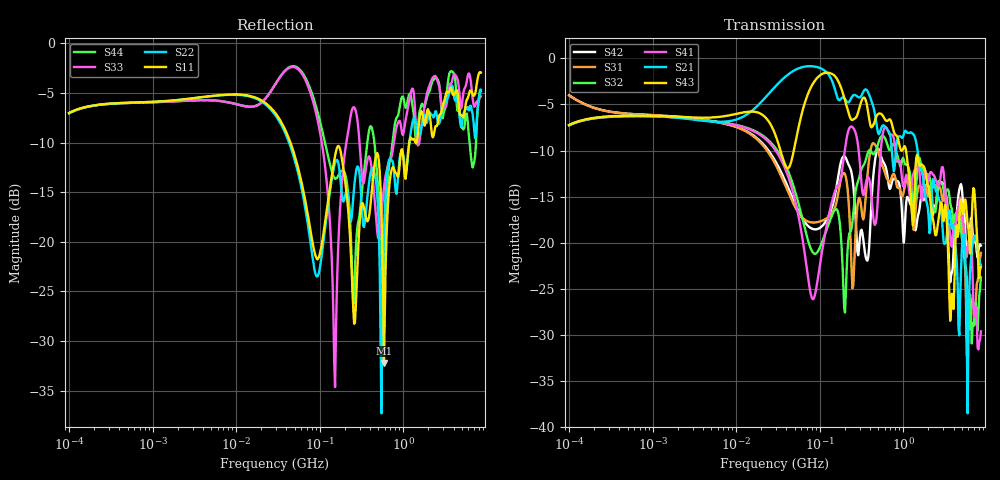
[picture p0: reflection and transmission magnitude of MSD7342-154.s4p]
# MHz S MA R 50
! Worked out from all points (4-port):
!   498 points, 100 kHz to 8.5 GHz, reference 50 ohm
!   strongest paths, dB at 100 kHz, 1.698 MHz, 29.49 MHz, 500.7 MHz, 8.5 GHz:
!     S43: -7.2, -6.3, -8.3, -6.0, -22.7
!     S21: -7.2, -6.4, -3.0, -8.1, -22.4
!     S41: -7.3, -6.4, -10.0, -14.7, -29.6
!     S32: -7.3, -6.4, -9.7, -9.3, -23.8
!     S31: -4.0, -6.3, -11.5, -10.0, -21.1
!     S42: -4.0, -6.3, -11.2, -9.8, -20.3
!   lowest |S11| = -32.2 dB at 587.5 MHz (marker M1), VSWR 1.05, Z = 50.8 - j2.33 ohm
!   |S11| at or under -10 dB: 44.59 MHz to 1.181 GHz (1.137 GHz wide, 185 % of centre); 1.405 GHz to 1.443 GHz (38.43 MHz wide, 2.7 % of centre)
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0.1  0.4451 26.5  0.4348 27.2  0.6295 -18.9  0.4332 -153.4
     0.4348 27.2  0.4448 26.6  0.4336 -153.4  0.6308 -18.9
     0.6295 -18.9  0.4336 -153.4  0.4452 26.6  0.4352 27.1
     0.4332 -153.4  0.6308 -18.9  0.4352 27.1  0.4441 26.5
68.6511  0.1536 -71.8  0.905 -9.4  0.1319 105.8  0.07762 2.8
         0.905 -9.4  0.1399 -71.0  0.1124 5.5  0.1266 122.9
         0.1319 105.8  0.1124 5.5  0.6416 -57.0  0.6016 22.9
         0.07762 2.8  0.1266 122.9  0.6016 22.9  0.6596 -50.9
152.6826  0.2709 -22.5  0.6744 -48.9  0.1557 40.4  0.1909 53.3
          0.6744 -48.9  0.2499 -7.8  0.1514 10.2  0.1816 60.8
          0.1557 40.4  0.1514 10.2  0.01855 -22.6  0.7999 -36.8
          0.1909 53.3  0.1816 60.8  0.7999 -36.8  0.2076 -68.3
587.4518  0.02452 -69.5  0.4328 -112.6  0.2489 -80.7  0.4141 -50.1
          0.4328 -112.6  0.1133 14.3  0.3764 -68.6  0.2704 -76.4
          0.2489 -80.7  0.3764 -68.6  0.1876 27.2  0.4772 -115.2
          0.4141 -50.1  0.2704 -76.4  0.4772 -115.2  0.05645 90.3
6034.534  0.5425 -97.6  0.03301 13.1  0.03781 -81.8  0.09832 -110.0
          0.03301 13.1  0.4609 -109.9  0.03365 -118.2  0.09925 -124.2
          0.03781 -81.8  0.03365 -118.2  0.7043 -114.4  0.1179 -51.9
          0.09832 -110.0  0.09925 -124.2  0.1179 -51.9  0.3619 -150.8
7244.201  0.5559 98.0  0.1093 -175.4  0.03737 148.6  0.04115 88.7
          0.1093 -175.4  0.333 67.2  0.04507 132.1  0.1046 64.8
          0.03737 148.6  0.04507 132.1  0.4822 47.9  0.1676 141.1
          0.04115 88.7  0.1046 64.8  0.1676 141.1  0.2694 45.7
8500  0.7122 -57.9  0.07574 28.6  0.08801 -6.7  0.03303 -21.3
      0.07574 28.6  0.5832 -63.3  0.0649 -11.4  0.09645 -94.7
      0.08801 -6.7  0.0649 -11.4  0.5399 -61.5  0.07366 5.9
      0.03303 -21.3  0.09645 -94.7  0.07366 5.9  0.5731 -76.3
